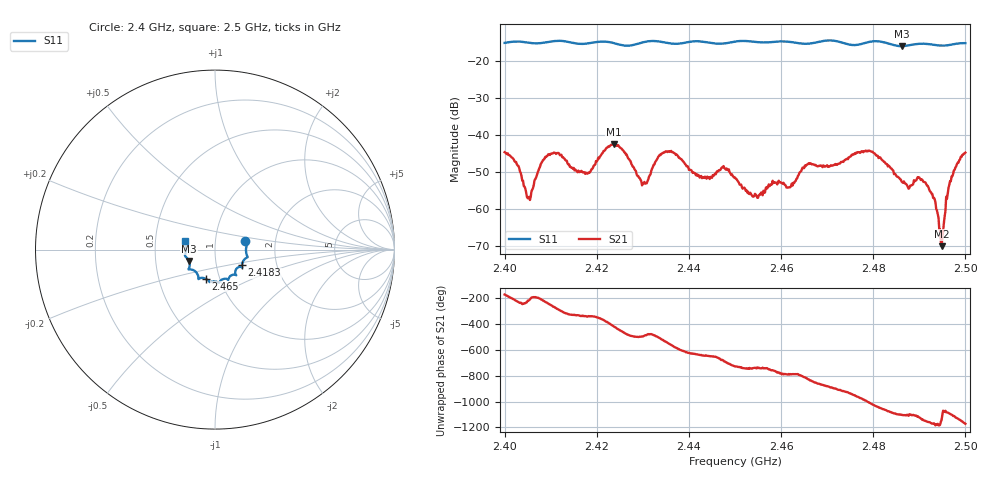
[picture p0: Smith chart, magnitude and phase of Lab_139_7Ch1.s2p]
# Hz S RI R 50
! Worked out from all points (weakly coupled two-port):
!   601 points, 2.4 GHz to 2.5 GHz, reference 50 ohm
!   highest |S21| = -42.50 dB at 2.4237 GHz (marker M1); lowest = -70.0 dB at 2.4948 GHz (marker M2)
!   lowest |S11| = -16.0 dB at 2.4862 GHz (marker M3), VSWR 1.37, Z = 37.1 - j4.8 ohm
!   |S11| at or under -10 dB: start of sweep to end of sweep
!   S12 and S22 are empty: the file has one direction only
!   S11 on the Smith chart (normalised r, x): 2.4 GHz: 1.40, +0.13; 2.4183 GHz: 1.33, -0.24; 2.465 GHz: 0.86, -0.29; 2.5 GHz: 0.71, +0.07
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2.4e9  0.1691 0.0455  -0.00579 -0.000833  0 0  0 0
2.402667e9  0.1797 0.0335  -0.00289 0.00277  0 0  0 0
2.405167e9  0.1753 0.0173  -0.0011 0.000878  0 0  0 0
2.409667e9  0.178 -0.0324  -0.00224 0.00498  0 0  0 0
2.416667e9  0.155 -0.0684  0.003 0.00132  0 0  0 0
2.418333e9  0.15 -0.0869  0.00288 0.00109  0 0  0 0
2.423667e9  0.1449 -0.0968  0.004 -0.00634  0 0  0 0
2.430333e9  0.1145 -0.1387  -0.00148 -0.00179  0 0  0 0
2.433333e9  0.1168 -0.1413  -0.00402 -0.00308  0 0  0 0
2.45e9  0.0251 -0.1806  0.00263 -0.00036  0 0  0 0
2.455e9  0.00746 -0.1788  0.00133 -0.000497  0 0  0 0
2.462e9  -0.0325 -0.177  0.00076 -0.00182  0 0  0 0
2.465e9  -0.0528 -0.162  -4.22e-05 -0.00357  0 0  0 0
2.466667e9  -0.0713 -0.1575  -0.00207 -0.00344  0 0  0 0
2.478833e9  -0.1406 -0.1104  0.0013 0.00586  0 0  0 0
2.483333e9  -0.1422 -0.096  0.00384 0.000381  0 0  0 0
2.486167e9  -0.1447 -0.0631  0.00217 -0.000913  0 0  0 0
2.4915e9  -0.167 -0.0309  0.000664 -0.00206  0 0  0 0
2.493333e9  -0.1636 -0.0161  -0.000118 -0.00135  0 0  0 0
2.494833e9  -0.1608 0.00219  0.000151 -0.000276  0 0  0 0
2.496833e9  -0.1631 0.0258  0.00226 -0.000702  0 0  0 0
2.5e9  -0.1669 0.0477  -0.000147 -0.00577  0 0  0 0
